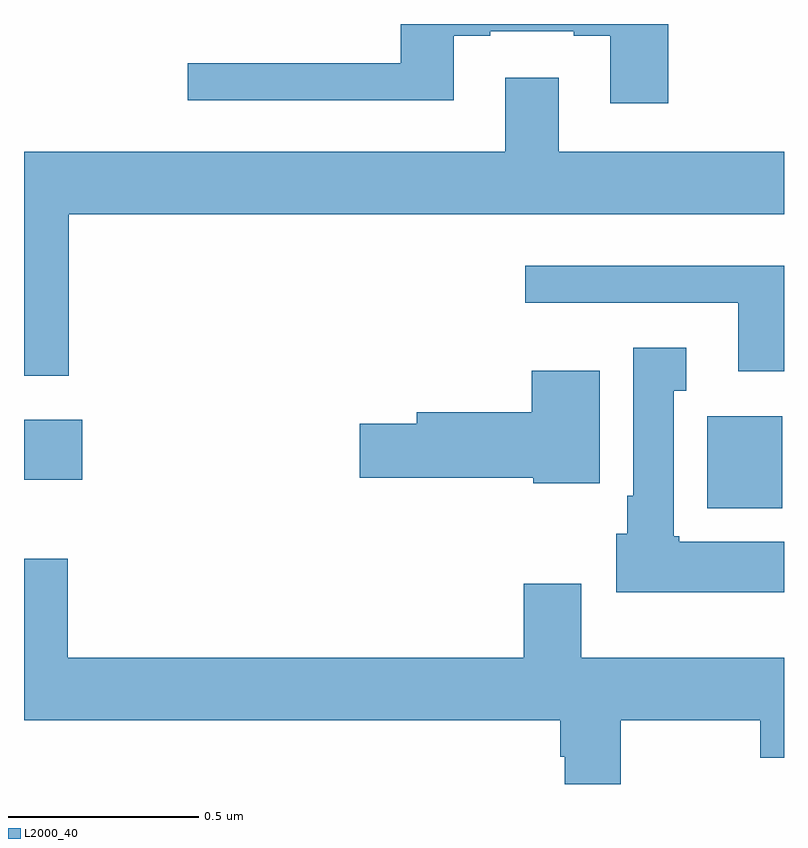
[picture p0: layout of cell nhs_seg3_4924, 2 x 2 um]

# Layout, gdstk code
import gdstk
lib = gdstk.Library(unit=1e-6, precision=1e-09)
def R(c, l, rs):  # rectangles x0, y0, x1, y1
    for r in rs: c.add(gdstk.rectangle(r[:2], r[2:], *l))
def P(c, l, *ps):  # polygons
    for p in ps: c.add(gdstk.Polygon(p, *l))
L2000_40 = (2000, 40)

nhs_seg3_4924 = lib.new_cell('nhs_seg3_4924')
R(nhs_seg3_4924, L2000_40, [(173.798,716.126,173.995,716.368), (172,716.201,172.153,716.359)])
P(nhs_seg3_4924, L2000_40, [(173.696,717.4),(172.991,717.4),(172.991,717.297),(172.431,717.297),(172.431,717.2),(173.131,717.2),(173.131,717.369),(173.227,717.369),(173.227,717.381),(173.447,717.381),(173.447,717.369),(173.543,717.369),(173.543,717.192),(173.696,717.192)],
  [(172.118,716.9),(174,716.9),(174,717.064),(173.407,717.064),(173.407,717.259),(173.267,717.259),(173.267,717.064),(172,717.064),(172,716.475),(172.118,716.475)],
  [(174,716.764),(173.319,716.764),(173.319,716.667),(173.879,716.667),(173.879,716.486),(174,716.486)],
  [(174,716.038),(173.724,716.038),(173.724,716.052),(173.71,716.052),(173.71,716.435),(173.743,716.435),(173.743,716.548),(173.603,716.548),(173.603,716.158),(173.588,716.158),(173.588,716.058),(173.558,716.058),(173.558,715.904),(174,715.904)],
  [(173.515,716.488),(173.336,716.488),(173.336,716.378),(173.033,716.378),(173.033,716.348),(172.884,716.348),(172.884,716.206),(173.34,716.206),(173.34,716.192),(173.515,716.192)],
  [(173.571,715.568),(173.938,715.568),(173.938,715.469),(174,715.469),(174,715.732),(173.467,715.732),(173.467,715.927),(173.315,715.927),(173.315,715.732),(172.115,715.732),(172.115,715.993),(172,715.993),(172,715.568),(173.411,715.568),(173.411,715.472),(173.423,715.472),(173.423,715.4),(173.571,715.4)])

lib.write_gds('nhs_seg3_4924.gds')
